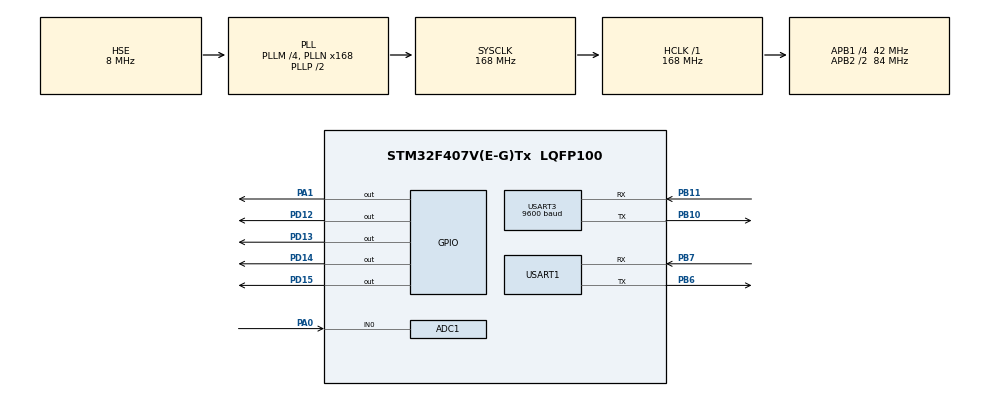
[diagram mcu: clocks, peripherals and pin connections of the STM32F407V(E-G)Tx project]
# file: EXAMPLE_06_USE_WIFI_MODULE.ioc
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ADC1.Channel-0\#ChannelRegularConversion=ADC_CHANNEL_0
ADC1.ContinuousConvMode=ENABLE
ADC1.NbrOfConversionFlag=1
ADC1.Rank-0\#ChannelRegularConversion=1
ADC1.SamplingTime-0\#ChannelRegularConversion=ADC_SAMPLETIME_3CYCLES
ADC1.master=1
Mcu.Family=STM32F4
Mcu.Name=STM32F407V(E-G)Tx
Mcu.Package=LQFP100
NVIC.PriorityGroup=NVIC_PRIORITYGROUP_4
NVIC.USART1_IRQn=true\:0\:0\:false\:false\:true\:true\:true
PA0-WKUP.Signal=ADCx_IN0
PA1.PinState=GPIO_PIN_SET
PA1.Signal=GPIO_Output
PB10.Mode=Asynchronous
PB10.Signal=USART3_TX
PB11.Mode=Asynchronous
PB11.Signal=USART3_RX
PB6.Mode=Asynchronous
PB6.Signal=USART1_TX
PB7.Mode=Asynchronous
PB7.Signal=USART1_RX
PD12.Signal=GPIO_Output
PD13.Signal=GPIO_Output
PD14.Signal=GPIO_Output
PD15.Signal=GPIO_Output
PH0-OSC_IN.Mode=HSE-External-Oscillator
PH0-OSC_IN.Signal=RCC_OSC_IN
PH1-OSC_OUT.Mode=HSE-External-Oscillator
PH1-OSC_OUT.Signal=RCC_OSC_OUT
ProjectManager.HeapSize=0x200
ProjectManager.StackSize=0x400
ProjectManager.TargetToolchain=STM32CubeIDE
RCC.48MHZClocksFreq_Value=84000000
RCC.AHBFreq_Value=168000000
RCC.APB1CLKDivider=RCC_HCLK_DIV4
RCC.APB1Freq_Value=42000000
RCC.APB1TimFreq_Value=84000000
RCC.APB2CLKDivider=RCC_HCLK_DIV2
RCC.APB2Freq_Value=84000000
RCC.APB2TimFreq_Value=168000000
RCC.CortexFreq_Value=168000000
RCC.HCLKFreq_Value=168000000
RCC.HSE_VALUE=8000000
RCC.HSI_VALUE=16000000
RCC.LSE_VALUE=32768
RCC.PLLM=4
RCC.PLLN=168
RCC.PLLSourceVirtual=RCC_PLLSOURCE_HSE
RCC.SYSCLKFreq_VALUE=168000000
RCC.SYSCLKSource=RCC_SYSCLKSOURCE_PLLCLK
RCC.VCOOutputFreq_Value=336000000
SH.ADCx_IN0.0=ADC1_IN0,IN0
USART1.VirtualMode=VM_ASYNC
USART3.BaudRate=9600
USART3.VirtualMode=VM_ASYNC
board=custom

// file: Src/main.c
/* USER CODE BEGIN Header */
/**
  ******************************************************************************
  * @file           : main.c
  * @brief          : Main program body
  ******************************************************************************
  * @attention
  *
  * <h2><center>&copy; Copyright (c) 2019 STMicroelectronics.
  * All rights reserved.</center></h2>
  *
  * This software component is licensed by ST under BSD 3-Clause license,
  * the "License"; You may not use this file except in compliance with the
  * License. You may obtain a copy of the License at:
  *                        opensource.org/licenses/BSD-3-Clause
  *
  ******************************************************************************
  */
/* USER CODE END Header */

#include "main.h"

/* USER CODE BEGIN Includes */

#include <string.h>
#include <stdio.h>

#define ESP8266BUFFER_LENGHT 500

/* USER CODE END Includes */

ADC_HandleTypeDef hadc1;

UART_HandleTypeDef huart1;
UART_HandleTypeDef huart3;

/* USER CODE BEGIN PV */

char tx_buffer[100];
char rx_buffer[100];
char transmitdata[100];
char transmitconf[100];
char g_arrui8ESP8266Buf[ESP8266BUFFER_LENGHT];

uint16_t ESPWriteIndex=0;

uint16_t potdegeri;
uint16_t adc_value;

int length;
int say=0;
int say2=0;
int say3=0;

/* USER CODE END PV */

void SystemClock_Config(void);
static void MX_GPIO_Init(void);
static void MX_USART1_UART_Init(void);
static void MX_USART3_UART_Init(void);
static void MX_ADC1_Init(void);
/* USER CODE BEGIN PFP */

uint16_t Read_ADC(void);
static void Clear_ESPBuffer(void);
static void ESP8266_Init(void);

/* USER CODE END PFP */

int main(void)
{

  /* MCU Configuration--------------------------------------------------------*/

  /* Reset of all peripherals, Initializes the Flash interface and the Systick. */
  HAL_Init();

  /* Configure the system clock */
  SystemClock_Config();

  /* Initialize all configured peripherals */
  MX_GPIO_Init();
  MX_USART1_UART_Init();
  MX_USART3_UART_Init();
  MX_ADC1_Init();
  /* USER CODE BEGIN 2 */
  __HAL_UART_ENABLE_IT(&huart1, UART_IT_RXNE);
  HAL_GPIO_WritePin(GPIOA, GPIO_PIN_1, GPIO_PIN_SET);
  Clear_ESPBuffer();
  HAL_Delay(400);

  /* USER CODE END 2 */

  /* Infinite loop */
  while (1)
  {

    /* USER CODE BEGIN 3 */
	  ESP8266_Init();
  }
  /* USER CODE END 3 */
}

void SystemClock_Config(void)
{
  RCC_OscInitTypeDef RCC_OscInitStruct = {0};
  RCC_ClkInitTypeDef RCC_ClkInitStruct = {0};

  /** Configure the main internal regulator output voltage
  */
  __HAL_RCC_PWR_CLK_ENABLE();
  __HAL_PWR_VOLTAGESCALING_CONFIG(PWR_REGULATOR_VOLTAGE_SCALE1);
  /** Initializes the CPU, AHB and APB busses clocks
  */
  RCC_OscInitStruct.OscillatorType = RCC_OSCILLATORTYPE_HSE;
  RCC_OscInitStruct.HSEState = RCC_HSE_ON;
  RCC_OscInitStruct.PLL.PLLState = RCC_PLL_ON;
  RCC_OscInitStruct.PLL.PLLSource = RCC_PLLSOURCE_HSE;
  RCC_OscInitStruct.PLL.PLLM = 4;
  RCC_OscInitStruct.PLL.PLLN = 168;
  RCC_OscInitStruct.PLL.PLLP = RCC_PLLP_DIV2;
  RCC_OscInitStruct.PLL.PLLQ = 4;
  if (HAL_RCC_OscConfig(&RCC_OscInitStruct) != HAL_OK)
  {
    Error_Handler();
  }
  /** Initializes the CPU, AHB and APB busses clocks
  */
  RCC_ClkInitStruct.ClockType = RCC_CLOCKTYPE_HCLK|RCC_CLOCKTYPE_SYSCLK
                              |RCC_CLOCKTYPE_PCLK1|RCC_CLOCKTYPE_PCLK2;
  RCC_ClkInitStruct.SYSCLKSource = RCC_SYSCLKSOURCE_PLLCLK;
  RCC_ClkInitStruct.AHBCLKDivider = RCC_SYSCLK_DIV1;
  RCC_ClkInitStruct.APB1CLKDivider = RCC_HCLK_DIV4;
  RCC_ClkInitStruct.APB2CLKDivider = RCC_HCLK_DIV2;

  if (HAL_RCC_ClockConfig(&RCC_ClkInitStruct, FLASH_LATENCY_5) != HAL_OK)
  {
    Error_Handler();
  }
}

static void MX_ADC1_Init(void)
{

  ADC_ChannelConfTypeDef sConfig = {0};

  /** Configure the global features of the ADC (Clock, Resolution, Data Alignment and number of conversion)
  */
  hadc1.Instance = ADC1;
  hadc1.Init.ClockPrescaler = ADC_CLOCK_SYNC_PCLK_DIV4;
  hadc1.Init.Resolution = ADC_RESOLUTION_12B;
  hadc1.Init.ScanConvMode = DISABLE;
  hadc1.Init.ContinuousConvMode = ENABLE;
  hadc1.Init.DiscontinuousConvMode = DISABLE;
  hadc1.Init.ExternalTrigConvEdge = ADC_EXTERNALTRIGCONVEDGE_NONE;
  hadc1.Init.ExternalTrigConv = ADC_SOFTWARE_START;
  hadc1.Init.DataAlign = ADC_DATAALIGN_RIGHT;
  hadc1.Init.NbrOfConversion = 1;
  hadc1.Init.DMAContinuousRequests = DISABLE;
  hadc1.Init.EOCSelection = ADC_EOC_SINGLE_CONV;
  if (HAL_ADC_Init(&hadc1) != HAL_OK)
  {
    Error_Handler();
  }
  /** Configure for the selected ADC regular channel its corresponding rank in the sequencer and its sample time.
  */
  sConfig.Channel = ADC_CHANNEL_0;
  sConfig.Rank = 1;
  sConfig.SamplingTime = ADC_SAMPLETIME_3CYCLES;
  if (HAL_ADC_ConfigChannel(&hadc1, &sConfig) != HAL_OK)
  {
    Error_Handler();
  }

}

static void MX_USART1_UART_Init(void)
{

  huart1.Instance = USART1;
  huart1.Init.BaudRate = 115200;
  huart1.Init.WordLength = UART_WORDLENGTH_8B;
  huart1.Init.StopBits = UART_STOPBITS_1;
  huart1.Init.Parity = UART_PARITY_NONE;
  huart1.Init.Mode = UART_MODE_TX_RX;
  huart1.Init.HwFlowCtl = UART_HWCONTROL_NONE;
  huart1.Init.OverSampling = UART_OVERSAMPLING_16;
  if (HAL_UART_Init(&huart1) != HAL_OK)
  {
    Error_Handler();
  }

}

static void MX_USART3_UART_Init(void)
{

  huart3.Instance = USART3;
  huart3.Init.BaudRate = 9600;
  huart3.Init.WordLength = UART_WORDLENGTH_8B;
  huart3.Init.StopBits = UART_STOPBITS_1;
  huart3.Init.Parity = UART_PARITY_NONE;
  huart3.Init.Mode = UART_MODE_TX_RX;
  huart3.Init.HwFlowCtl = UART_HWCONTROL_NONE;
  huart3.Init.OverSampling = UART_OVERSAMPLING_16;
  if (HAL_UART_Init(&huart3) != HAL_OK)
  {
    Error_Handler();
  }

}

static void MX_GPIO_Init(void)
{
  GPIO_InitTypeDef GPIO_InitStruct = {0};

  /* GPIO Ports Clock Enable */
  __HAL_RCC_GPIOH_CLK_ENABLE();
  __HAL_RCC_GPIOA_CLK_ENABLE();
  __HAL_RCC_GPIOB_CLK_ENABLE();
  __HAL_RCC_GPIOD_CLK_ENABLE();

  /*Configure GPIO pin Output Level */
  HAL_GPIO_WritePin(GPIOA, GPIO_PIN_1, GPIO_PIN_SET);

  /*Configure GPIO pin Output Level */
  HAL_GPIO_WritePin(GPIOD, GPIO_PIN_12|GPIO_PIN_13|GPIO_PIN_14|GPIO_PIN_15, GPIO_PIN_RESET);

  /*Configure GPIO pin : PA1 */
  GPIO_InitStruct.Pin = GPIO_PIN_1;
  GPIO_InitStruct.Mode = GPIO_MODE_OUTPUT_PP;
  GPIO_InitStruct.Pull = GPIO_NOPULL;
  GPIO_InitStruct.Speed = GPIO_SPEED_FREQ_LOW;
  HAL_GPIO_Init(GPIOA, &GPIO_InitStruct);

  /*Configure GPIO pins : PD12 PD13 PD14 PD15 */
  GPIO_InitStruct.Pin = GPIO_PIN_12|GPIO_PIN_13|GPIO_PIN_14|GPIO_PIN_15;
  GPIO_InitStruct.Mode = GPIO_MODE_OUTPUT_PP;
  GPIO_InitStruct.Pull = GPIO_NOPULL;
  GPIO_InitStruct.Speed = GPIO_SPEED_FREQ_LOW;
  HAL_GPIO_Init(GPIOD, &GPIO_InitStruct);

}

/* USER CODE BEGIN 4 */

static void ESP8266_Init(void)
{
	static uint8_t ESPInitCase = 0;

	switch (ESPInitCase) {
		case 0:
			 // Standart AT Komutu gonderilir , Cevabi OK olmalidir.
			HAL_UART_Transmit(&huart1, (uint8_t*)tx_buffer, sprintf(tx_buffer, "AT\r\n"), 500);
			ESPInitCase = 1;
			HAL_Delay(500);
			break;
		case 1:
			 // STRSTR fonksiyonu metin icinde metin arayan bir fonksiyondur
			 // Eger aranilan metni bulabilirse pointer adresi ile geri donus yapar
			 // Bulamaz ise NULL dondurur. Bizde null'dan farkli mi diye sorariz.
			if(strstr(g_arrui8ESP8266Buf, "OK") != NULL)
			{
				Clear_ESPBuffer();
				HAL_UART_Transmit(&huart3, (uint8_t*)tx_buffer, sprintf(tx_buffer, "\nModule erisildi.\n"), 100);
				HAL_UART_Transmit(&huart3, (uint8_t*)tx_buffer, sprintf(tx_buffer, "EspInitCase = 1\n"), 100);
				HAL_UART_Transmit(&huart3, (uint8_t*)tx_buffer, sprintf(tx_buffer, &g_arrui8ESP8266Buf[100]), 100);
				ESPInitCase = 2;
			}
			else
			{
				Clear_ESPBuffer();
				HAL_UART_Transmit(&huart3, (uint8_t*)tx_buffer, sprintf(tx_buffer, "\nModule erisilemedi. Tekrar deneniyor.\n"), 100);
				HAL_UART_Transmit(&huart3, (uint8_t*)tx_buffer, sprintf(tx_buffer, "EspInitCase = 1\n"), 100);
				HAL_UART_Transmit(&huart3, (uint8_t*)tx_buffer, sprintf(tx_buffer, &g_arrui8ESP8266Buf[100]), 100);
				ESPInitCase = 0;
			}
			break;
		case 2:
			// Modulun 3 modu var gerekli bilgi datasheet'de biz 1 olmasini istiyoruz
			HAL_UART_Transmit(&huart1, (uint8_t*)tx_buffer, sprintf(tx_buffer, "AT+CWMODE?\r\n"), 100);
			HAL_Delay(1000);
			HAL_UART_Transmit(&huart3, (uint8_t*)tx_buffer, sprintf(tx_buffer, "EspInitCase = 2\n"), 100);
			 ESPInitCase = 3;
			break;
		case 3:
			if (strstr(g_arrui8ESP8266Buf,"+CWMODE:1") != NULL)
			 {
				Clear_ESPBuffer();
				HAL_UART_Transmit(&huart3, (uint8_t*)tx_buffer, sprintf(tx_buffer, "Mod ayari dogru.\n"), 100);
				HAL_UART_Transmit(&huart3, (uint8_t*)tx_buffer, sprintf(tx_buffer, "EspInitCase = 3\n"), 100);
				ESPInitCase = 4;
			 }
			else
			{
				// Fabrika ayarlari olarak 2 geliyor biz onu 1 yapip reset komutu ile tamamlariz.
				HAL_UART_Transmit(&huart1, (uint8_t*)tx_buffer, sprintf(tx_buffer, "AT+CWMODE=1\r\n"), 100);
				HAL_UART_Transmit(&huart3, (uint8_t*)tx_buffer, sprintf(tx_buffer, "EspInitCase = 3\n"), 100);
				HAL_Delay(1000);
				Clear_ESPBuffer();
				HAL_UART_Transmit(&huart3, (uint8_t*)tx_buffer, sprintf(tx_buffer, "Mod ayari degistirildi.\n"), 100);
				ESPInitCase = 4;
			}
			break;
		case 4:
			 // Baglanilacak olan wifi agina ait kullanici adi ve sifre girisi yapilir.
			HAL_UART_Transmit(&huart1, (uint8_t*)tx_buffer, sprintf(tx_buffer, "AT+CWJAP=\"MFKtel\",\"mfatihkoseoglu\"\r\n"), 100);
			HAL_UART_Transmit(&huart3, (uint8_t*)tx_buffer, sprintf(tx_buffer, "EspInitCase = 4\n"), 100);
			HAL_Delay(1000);
			ESPInitCase = 5;
			break;
		case 5:
			 // Baglanti saglandiginde OK Cevabi alinir
			 if (strstr(g_arrui8ESP8266Buf,"OK") != NULL)
			 {
				 Clear_ESPBuffer();
				 HAL_UART_Transmit(&huart3, (uint8_t*)tx_buffer, sprintf(tx_buffer, "Modeme Baglanti yapildi\n"), 100);
				 HAL_UART_Transmit(&huart3, (uint8_t*)tx_buffer, sprintf(tx_buffer, "EspInitCase = 5\n"), 100);
				 ESPInitCase = 6;
			 }
			 else
			 {
				 HAL_Delay(1000);
				 HAL_UART_Transmit(&huart3, (uint8_t*)tx_buffer, sprintf(tx_buffer, "Modeme Baglanti Bekleniyor.\n"), 100);
				 HAL_UART_Transmit(&huart3, (uint8_t*)tx_buffer, sprintf(tx_buffer, "EspInitCase = 5\n"), 100);
				 HAL_Delay(1000);
				 say2++;
				 if(say2 == 3)
				 {
					 HAL_UART_Transmit(&huart3, (uint8_t*)tx_buffer, sprintf(tx_buffer, "Modeme baglanilamadi\n"), 100);
					 HAL_UART_Transmit(&huart3, (uint8_t*)tx_buffer, sprintf(tx_buffer, "EspInitCase = 5\n"), 100);
					 ESPInitCase=8;
					 say2=0;
				 }
			 }
			break;
		case 6:
			// IP adresi nedir diye soruyoruz ?
			HAL_UART_Transmit(&huart1, (uint8_t*)tx_buffer, sprintf(tx_buffer, "AT+CIFSR\r\n"), 100);
			// 1 saniye gecikme koyuyoruz.
			HAL_Delay(1000);
			 HAL_UART_Transmit(&huart3, (uint8_t*)tx_buffer, sprintf(tx_buffer, "EspInitCase = 6\n"), 100);
			ESPInitCase = 7;
			break;
		case 7:
			 // IP alana kadar error bilgisi gonderir. Onu ayiririz. =)
			 if (strstr(g_arrui8ESP8266Buf,"ERROR") == NULL)
			 {
				 HAL_UART_Transmit(&huart3, (uint8_t*)tx_buffer, sprintf(tx_buffer, "Alinan IP = \n"), 100);
				 // Gelen bilginin 11.karakterinden itibaren IP adresi yaziyor.
				 HAL_UART_Transmit(&huart3, (uint8_t*)tx_buffer, sprintf(tx_buffer, &g_arrui8ESP8266Buf[11]), 100);
				 HAL_UART_Transmit(&huart3, (uint8_t*)tx_buffer, sprintf(tx_buffer, "EspInitCase = 7\n"), 100);
				 Clear_ESPBuffer();
				 ESPInitCase=8;
			 }
			 else
			 {
				 // ERROR der ise tekrar dene
				 HAL_Delay(1000);
				 HAL_UART_Transmit(&huart3, (uint8_t*)tx_buffer, sprintf(tx_buffer, "Tekrar deneniyor. \n"), 100);
				 Clear_ESPBuffer();
				 ESPInitCase=6;
			 }
			break;
		case 8:
			// Baglanilacak siteye ait bilgiler girildi.
			HAL_UART_Transmit(&huart1, (uint8_t*)tx_buffer, sprintf(tx_buffer, "AT+CIPSTART=\"TCP\",\"184.106.153.149\",80\r\n"), 100);
			// 1 saniye gecikme koyuyoruz.
			HAL_Delay(1000);
			 HAL_UART_Transmit(&huart3, (uint8_t*)tx_buffer, sprintf(tx_buffer, "EspInitCase = 8\n"), 100);
			ESPInitCase = 9;
			break;
		case 9:
			 // Baglanti kuruldugunda Linked diye bir cevap aliriz.
			 if (strstr(g_arrui8ESP8266Buf,"CONNECT") != NULL)
			 {
				 Clear_ESPBuffer();
				 HAL_UART_Transmit(&huart3, (uint8_t*)tx_buffer, sprintf(tx_buffer, "Site ile baglanti kuruldu\n"), 100);
				 HAL_UART_Transmit(&huart3, (uint8_t*)tx_buffer, sprintf(tx_buffer, "EspInitCase = 9\n"), 100);
				 ESPInitCase = 10;
			 }
			 else
			 {
				 // Cevap gelene kadar bekler
				 HAL_Delay(1000);
				 HAL_UART_Transmit(&huart3, (uint8_t*)tx_buffer, sprintf(tx_buffer, "Siteye Baglanti Bekleniyor.\n"), 100);
			 	 HAL_Delay(5000);
				 HAL_UART_Transmit(&huart3, (uint8_t*)tx_buffer, sprintf(tx_buffer, "EspInitCase = 9\n"), 100);
			 	 say++;
			 	 if(say==3)
			 	 {
					 HAL_UART_Transmit(&huart3, (uint8_t*)tx_buffer, sprintf(tx_buffer, "Siteye Baglanti kurulamadi.\n"), 100);
			 		 ESPInitCase=8;
					 HAL_UART_Transmit(&huart3, (uint8_t*)tx_buffer, sprintf(tx_buffer, "EspInitCase = 9\n"), 100);
			 		 say=0;
			 	 }
			 }
			break;
		case 10:
		 potdegeri = Read_ADC(); // adc okunuyor

		 sprintf(transmitdata, "GET /update?key=BYLL8GABRL1MYA4T\r\n", potdegeri);

		 length=strlen(transmitdata); // gönderilecek datanin uzunlugu
		 length=length+2;

		 HAL_UART_Transmit(&huart1, (uint8_t*)transmitconf, sprintf(transmitconf, "AT+CIPSEND=%d\r\n", length), 100);
		 // Komutu verdikten sonra bize '>' bilgisi geliyor.
		 HAL_Delay(1000);

		 if (strstr(g_arrui8ESP8266Buf,">") != NULL)
		 {
			 Clear_ESPBuffer();
			 HAL_UART_Transmit(&huart3, (uint8_t*)tx_buffer, sprintf(tx_buffer, "Gönderilen data uzunlugu kabul edildi\n"), 100);
			 HAL_UART_Transmit(&huart1, (uint8_t*)transmitdata, sprintf(transmitdata, "GET /update?key=BYLL8GABRL1MYA4T\r\n",potdegeri), 100);
			 HAL_UART_Transmit(&huart3, (uint8_t*)tx_buffer, sprintf(tx_buffer, "Data gönderildi\n"), 100);
			 HAL_Delay(2000);
			 ESPInitCase=10;
		 }
		 else
		 {
			 // Cevap gelene kadar bekler
			 HAL_Delay(3000);
			 HAL_UART_Transmit(&huart3, (uint8_t*)tx_buffer, sprintf(tx_buffer, "gönderilen data uzunlugu kabul edilmedi\n"), 100);
			 ESPInitCase=8;
			 HAL_UART_Transmit(&huart3, (uint8_t*)tx_buffer, sprintf(tx_buffer, "Siteye yeniden baglanilmaya çalisiliyor\n"), 100);
			 say3++;
			 if(say3==3)
			 {
				 HAL_UART_Transmit(&huart3, (uint8_t*)tx_buffer, sprintf(tx_buffer, "Baglanti kurulamadi.\n Ayarlar kontrol edilecek\n"), 100);
				 ESPInitCase=0;
				 say3=0;
			 }
		 }
		 break;
	}
}

uint16_t Read_ADC(void)
{
	HAL_ADC_Start(&hadc1);	// ADC1 dönüşümü başlatıldı
	if(HAL_ADC_PollForConversion(&hadc1, 1000000) == HAL_OK)	// ADC yi yoklar ve dönüşümün bitmesini bekler.
		adc_value = HAL_ADC_GetValue(&hadc1);	// ADC1 i oku, değeri al, adc_value değişkenine ata
	HAL_ADC_Stop(&hadc1);	// ADC1 dönüşümünü durdur
	return adc_value;
}

static void Clear_ESPBuffer(void)
{
	 uint16_t i;

	 for(i = 0; i < ESP8266BUFFER_LENGHT; i++)
		 g_arrui8ESP8266Buf[i] = 0;

	 ESPWriteIndex = 0;
}

/* USER CODE END 4 */

void Error_Handler(void)
{
}

/************************ (C) COPYRIGHT STMicroelectronics *****END OF FILE****/
